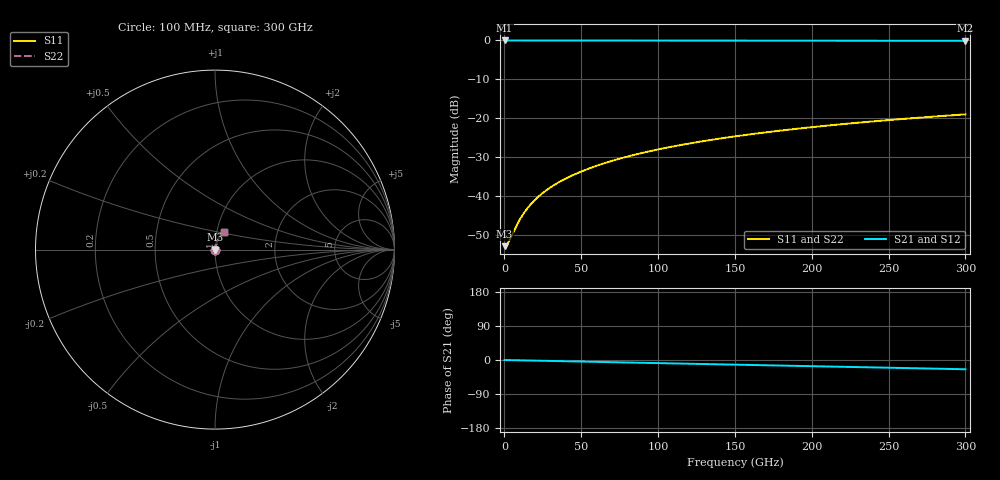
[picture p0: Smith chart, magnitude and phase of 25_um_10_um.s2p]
! Created with skrf (http://scikit-rf.org).
# Hz S RI R 50.0
!freq ReS11 ImS11 ReS21 ImS21 ReS12 ImS12 ReS22 ImS22
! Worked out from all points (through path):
!   3000 points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, 100 MHz to 300 GHz, reference 50 ohm
!   highest |S21| = -0.02 dB at 100 MHz (marker M1); lowest = -0.1 dB at 300 GHz (marker M2)
!   group delay of S21, straight-line fit = 226 fs
!   lowest |S11| = -52.9 dB at 100 MHz (marker M3), VSWR 1.00, Z = 50.2 + j0.00439 ohm
!   |S11| at or under -10 dB: start of sweep to end of sweep
!   |S22| runs from -53.0 to -19.2 dB; largest |S21 - S12| = 0.00084
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1e8  0.00226 4.37e-05  0.9977 -0.000148  0.9977 -0.000149  0.00225 4.31e-05
1.4e9  0.00227 0.000612  0.9977 -0.00208  0.9977 -0.00208  0.00225 0.000604
2.7e9  0.00228 0.00118  0.9977 -0.004  0.9977 -0.00401  0.00226 0.00116
8.4e9  0.0024 0.00365  0.9975 -0.0124  0.9975 -0.0124  0.00239 0.0036
1.03e10  0.00247 0.00446  0.9975 -0.0152  0.9975 -0.0152  0.00246 0.0044
1.22e10  0.00254 0.00527  0.9973 -0.018  0.9973 -0.018  0.00254 0.00519
1.6e10  0.00272 0.00685  0.9971 -0.0235  0.9971 -0.0236  0.00272 0.00674
2.03e10  0.00295 0.00861  0.9968 -0.0298  0.9968 -0.0298  0.00296 0.00845
2.61e10  0.00329 0.0109  0.9963 -0.0381  0.9963 -0.0381  0.00329 0.0107
3.29e10  0.00371 0.0135  0.9956 -0.0478  0.9957 -0.0477  0.0037 0.0133
4.09e10  0.00421 0.0166  0.9948 -0.0591  0.9949 -0.0591  0.00419 0.0163
5.01e10  0.00483 0.0201  0.9937 -0.0721  0.9938 -0.0722  0.00479 0.0197
6.07e10  0.00562 0.0241  0.9923 -0.0871  0.9923 -0.0872  0.00559 0.0236
7.24e10  0.00663 0.0284  0.9903 -0.1036  0.9903 -0.1036  0.00659 0.0279
8.55e10  0.0079 0.0333  0.9878 -0.122  0.9879 -0.122  0.00783 0.0326
1.001e11  0.00947 0.0385  0.9847 -0.1424  0.9848 -0.1425  0.00938 0.0378
1.236e11  0.0124 0.0469  0.9787 -0.1751  0.9788 -0.1751  0.0123 0.046
1.501e11  0.0163 0.0561  0.9707 -0.2116  0.9709 -0.2116  0.0161 0.055
1.74e11  0.0203 0.0641  0.9622 -0.2441  0.9624 -0.2442  0.02 0.0628
2.001e11  0.0252 0.0724  0.9516 -0.2792  0.9519 -0.2793  0.0249 0.071
2.501e11  0.0362 0.0874  0.9277 -0.3449  0.9281 -0.3452  0.0357 0.0857
3e11  0.0489 0.1007  0.899 -0.4082  0.8997 -0.4087  0.0482 0.0987
